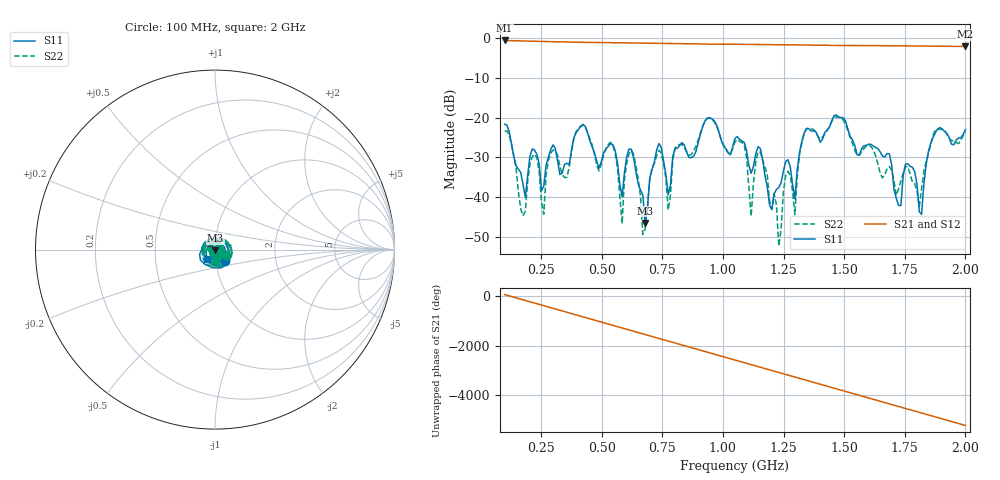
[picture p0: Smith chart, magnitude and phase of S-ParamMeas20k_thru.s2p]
!Keysight Technologies,N5242B,MY48420967,A.15.65.19
!Date: Saturday, December 17, 2022 17:18:11
!Correction: S11(C  2-Port  )
!S21(C  2-Port  )
!S12(C  2-Port  )
!S22(C  2-Port  )
!S2P File: Measurements: S11, S21, S12, S22:
# Hz S  dB  R 50
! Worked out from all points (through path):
!   201 points, 100 MHz to 2 GHz, reference 50 ohm
!   highest |S21| = -0.61 dB at 100 MHz (marker M1); lowest = -2.1 dB at 2 GHz (marker M2)
!   group delay of S21, straight-line fit = 7.76 ns
!   lowest |S11| = -46.6 dB at 679.5 MHz (marker M3), VSWR 1.01, Z = 50.1 - j0.451 ohm
!   |S11| at or under -10 dB: start of sweep to end of sweep
!   |S22| runs from -52.4 to -19.8 dB; largest |S21 - S12| = 0.00039
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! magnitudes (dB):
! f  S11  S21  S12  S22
! 100 MHz  -21.7  -0.6  -0.6  -23.5
! 176 MHz  -36.9  -0.7  -0.7  -44.7
! 261.5 MHz  -37.3  -0.9  -0.9  -44.3
! 423 MHz  -21.7  -1.1  -1.1  -21.9
! 546.5 MHz  -26.9  -1.2  -1.2  -26.9
! 584.5 MHz  -39.9  -1.2  -1.2  -46.7
! 622.5 MHz  -28.0  -1.2  -1.2  -28.2
! 679.5 MHz  -46.6  -1.3  -1.3  -48.1
! 736.5 MHz  -26.6  -1.3  -1.3  -28.2
! 774.5 MHz  -39.5  -1.4  -1.4  -43.3
! 812.5 MHz  -27.7  -1.4  -1.4  -27.0
! 1.05 GHz  -25.3  -1.6  -1.6  -26.1
! 1.117 GHz  -34.1  -1.6  -1.6  -44.9
! 1.155 GHz  -27.8  -1.6  -1.6  -28.7
! 1.23 GHz  -37.7  -1.7  -1.7  -52.4
! 1.259 GHz  -31.1  -1.7  -1.7  -34.5
! 1.297 GHz  -40.5  -1.7  -1.7  -44.5
! 1.373 GHz  -23.4  -1.8  -1.8  -23.0
! 1.687 GHz  -29.1  -1.9  -1.9  -32.3
! 1.819 GHz  -44.4  -2.0  -2.0  -37.8
! 1.877 GHz  -23.8  -2.1  -2.1  -23.1
! 2 GHz  -23.0  -2.1  -2.1  -23.7
